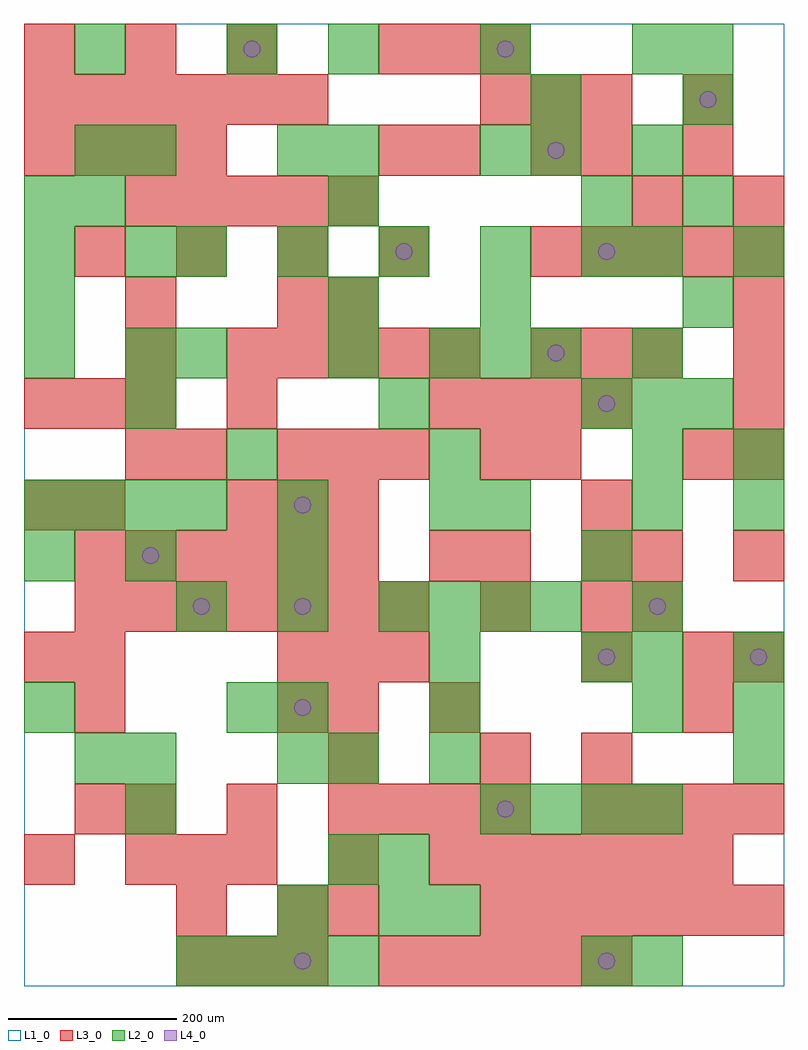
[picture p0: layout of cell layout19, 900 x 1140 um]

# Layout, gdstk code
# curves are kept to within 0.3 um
import gdstk
lib = gdstk.Library(unit=1e-6, precision=1e-09)
def R(c, l, rs):  # rectangles x0, y0, x1, y1
    for r in rs: c.add(gdstk.rectangle(r[:2], r[2:], *l))
def A(c, l, x, y, w, h, nx, ny, dx, dy):  # array of equal rectangles
    R(c, l, [(x+i*dx, y+j*dy, x+i*dx+w, y+j*dy+h) for i in range(nx) for j in range(ny)])
def P(c, l, *ps):  # polygons
    for p in ps: c.add(gdstk.Polygon(p, *l))
L1_0 = (1, 0)
L2_0 = (2, 0)
L3_0 = (3, 0)
L4_0 = (4, 0)

layout19 = lib.new_cell('layout19')
R(layout19, L1_0, [(0,0,900,1140)])
A(layout19, L2_0, 180, 0, 60, 60, 4, 1, 60, 0)
A(layout19, L2_0, 540, 180, 60, 60, 4, 1, 60, 0)
A(layout19, L2_0, 480, 240, 60, 60, 1, 3, 0, 60)
A(layout19, L2_0, 840, 240, 60, 60, 1, 3, 0, 60)
A(layout19, L2_0, 720, 300, 60, 60, 1, 3, 0, 60)
A(layout19, L2_0, 180, 420, 60, 60, 3, 1, 120, 0)
A(layout19, L2_0, 480, 420, 60, 60, 3, 2, 60, 300)
A(layout19, L2_0, 0, 540, 60, 60, 4, 1, 60, 0)
A(layout19, L2_0, 240, 600, 60, 60, 3, 1, 240, 0)
A(layout19, L2_0, 660, 660, 60, 60, 3, 1, 60, 0)
A(layout19, L2_0, 0, 720, 60, 60, 1, 4, 0, 60)
A(layout19, L2_0, 120, 720, 60, 60, 1, 3, 0, 120)
A(layout19, L2_0, 720, 720, 60, 60, 1, 3, 0, 120)
A(layout19, L2_0, 780, 780, 60, 60, 1, 3, 0, 120)
A(layout19, L2_0, 180, 840, 60, 60, 5, 1, 120, 0)
A(layout19, L2_0, 60, 900, 60, 60, 3, 1, 300, 0)
A(layout19, L2_0, 360, 1080, 60, 60, 3, 1, 180, 0)
R(layout19, L2_0, [(660,0,720,60), (720,0,780,60), (300,60,360,120), (420,60,480,120), (480,60,540,120), (360,120,420,180), (420,120,480,180), (120,180,180,240), (60,240,120,300), (120,240,180,300), (300,240,360,300), (360,240,420,300), (0,300,60,360), (240,300,300,360), (300,300,360,360), (660,360,720,420), (0,480,60,540), (120,480,180,540), (300,480,360,540), (660,480,720,540), (300,540,360,600), (480,540,540,600), (540,540,600,600), (720,540,780,600), (840,540,900,600), (840,600,900,660), (120,660,180,720), (420,660,480,720), (180,720,240,780), (360,720,420,780), (360,780,420,840), (540,780,600,840), (840,840,900,900), (60,960,120,1020), (300,960,360,1020), (360,960,420,1020), (540,960,600,1020), (600,960,660,1020), (600,1020,660,1080), (60,1080,120,1140), (240,1080,300,1140), (780,1080,840,1140)])
A(layout19, L3_0, 180, 0, 60, 60, 3, 1, 60, 0)
A(layout19, L3_0, 420, 0, 60, 60, 5, 1, 60, 0)
A(layout19, L3_0, 540, 60, 60, 60, 6, 1, 60, 0)
A(layout19, L3_0, 120, 120, 60, 60, 3, 1, 60, 0)
A(layout19, L3_0, 480, 120, 60, 60, 6, 1, 60, 0)
A(layout19, L3_0, 120, 180, 60, 60, 3, 1, 120, 0)
A(layout19, L3_0, 420, 180, 60, 60, 3, 2, 60, 900)
A(layout19, L3_0, 660, 180, 60, 60, 4, 1, 60, 0)
A(layout19, L3_0, 300, 360, 60, 60, 3, 2, 60, 240)
A(layout19, L3_0, 660, 360, 60, 60, 1, 4, 0, 60)
A(layout19, L3_0, 840, 360, 60, 60, 1, 3, 0, 120)
A(layout19, L3_0, 60, 420, 60, 60, 7, 1, 60, 0)
A(layout19, L3_0, 60, 480, 60, 60, 6, 1, 60, 0)
A(layout19, L3_0, 240, 540, 60, 60, 3, 1, 60, 0)
A(layout19, L3_0, 0, 660, 60, 60, 3, 1, 60, 0)
A(layout19, L3_0, 480, 660, 60, 60, 4, 1, 60, 0)
A(layout19, L3_0, 840, 660, 60, 60, 1, 3, 0, 60)
A(layout19, L3_0, 240, 720, 60, 60, 5, 1, 60, 0)
A(layout19, L3_0, 600, 720, 60, 60, 3, 1, 60, 0)
A(layout19, L3_0, 60, 840, 60, 60, 4, 1, 120, 0)
A(layout19, L3_0, 600, 840, 60, 60, 5, 1, 60, 0)
A(layout19, L3_0, 120, 900, 60, 60, 5, 1, 60, 0)
A(layout19, L3_0, 0, 960, 60, 60, 4, 1, 60, 0)
A(layout19, L3_0, 0, 1020, 60, 60, 6, 1, 60, 0)
A(layout19, L3_0, 540, 1020, 60, 60, 3, 1, 60, 0)
A(layout19, L3_0, 0, 1080, 60, 60, 3, 1, 120, 0)
R(layout19, L3_0, [(180,60,240,120), (300,60,360,120), (360,60,420,120), (0,120,60,180), (360,120,420,180), (60,180,120,240), (360,240,420,300), (540,240,600,300), (660,240,720,300), (60,300,120,360), (300,300,360,360), (360,300,420,360), (480,300,540,360), (780,300,840,360), (0,360,60,420), (60,360,120,420), (780,360,840,420), (540,420,600,480), (720,420,780,480), (480,480,540,540), (540,480,600,540), (720,480,780,540), (0,540,60,600), (60,540,120,600), (120,600,180,660), (180,600,240,660), (540,600,600,660), (600,600,660,660), (780,600,840,660), (240,660,300,720), (120,720,180,780), (120,780,180,840), (300,780,360,840), (360,780,420,840), (720,900,780,960), (840,900,900,960), (420,960,480,1020), (480,960,540,1020), (600,960,660,1020), (660,960,720,1020), (780,960,840,1020), (780,1020,840,1080)])
P(layout19, L4_0, [(160,510),(159.239,513.827),(157.071,517.071),(153.827,519.239),(150,520),(146.173,519.239),(142.929,517.071),(140.761,513.827),(140,510),(140.761,506.173),(142.929,502.929),(146.173,500.761),(150,500),(153.827,500.761),(157.071,502.929),(159.239,506.173)],
  [(220,450),(219.239,453.827),(217.071,457.071),(213.827,459.239),(210,460),(206.173,459.239),(202.929,457.071),(200.761,453.827),(200,450),(200.761,446.173),(202.929,442.929),(206.173,440.761),(210,440),(213.827,440.761),(217.071,442.929),(219.239,446.173)],
  [(280,1110),(279.239,1113.827),(277.071,1117.071),(273.827,1119.239),(270,1120),(266.173,1119.239),(262.929,1117.071),(260.761,1113.827),(260,1110),(260.761,1106.173),(262.929,1102.929),(266.173,1100.761),(270,1100),(273.827,1100.761),(277.071,1102.929),(279.239,1106.173)],
  [(340,30),(339.239,33.827),(337.071,37.071),(333.827,39.239),(330,40),(326.173,39.239),(322.929,37.071),(320.761,33.827),(320,30),(320.761,26.173),(322.929,22.929),(326.173,20.761),(330,20),(333.827,20.761),(337.071,22.929),(339.239,26.173)],
  [(340,330),(339.239,333.827),(337.071,337.071),(333.827,339.239),(330,340),(326.173,339.239),(322.929,337.071),(320.761,333.827),(320,330),(320.761,326.173),(322.929,322.929),(326.173,320.761),(330,320),(333.827,320.761),(337.071,322.929),(339.239,326.173)],
  [(340,450),(339.239,453.827),(337.071,457.071),(333.827,459.239),(330,460),(326.173,459.239),(322.929,457.071),(320.761,453.827),(320,450),(320.761,446.173),(322.929,442.929),(326.173,440.761),(330,440),(333.827,440.761),(337.071,442.929),(339.239,446.173)],
  [(340,570),(339.239,573.827),(337.071,577.071),(333.827,579.239),(330,580),(326.173,579.239),(322.929,577.071),(320.761,573.827),(320,570),(320.761,566.173),(322.929,562.929),(326.173,560.761),(330,560),(333.827,560.761),(337.071,562.929),(339.239,566.173)],
  [(460,870),(459.239,873.827),(457.071,877.071),(453.827,879.239),(450,880),(446.173,879.239),(442.929,877.071),(440.761,873.827),(440,870),(440.761,866.173),(442.929,862.929),(446.173,860.761),(450,860),(453.827,860.761),(457.071,862.929),(459.239,866.173)],
  [(580,210),(579.239,213.827),(577.071,217.071),(573.827,219.239),(570,220),(566.173,219.239),(562.929,217.071),(560.761,213.827),(560,210),(560.761,206.173),(562.929,202.929),(566.173,200.761),(570,200),(573.827,200.761),(577.071,202.929),(579.239,206.173)],
  [(580,1110),(579.239,1113.827),(577.071,1117.071),(573.827,1119.239),(570,1120),(566.173,1119.239),(562.929,1117.071),(560.761,1113.827),(560,1110),(560.761,1106.173),(562.929,1102.929),(566.173,1100.761),(570,1100),(573.827,1100.761),(577.071,1102.929),(579.239,1106.173)],
  [(640,750),(639.239,753.827),(637.071,757.071),(633.827,759.239),(630,760),(626.173,759.239),(622.929,757.071),(620.761,753.827),(620,750),(620.761,746.173),(622.929,742.929),(626.173,740.761),(630,740),(633.827,740.761),(637.071,742.929),(639.239,746.173)],
  [(640,990),(639.239,993.827),(637.071,997.071),(633.827,999.239),(630,1000),(626.173,999.239),(622.929,997.071),(620.761,993.827),(620,990),(620.761,986.173),(622.929,982.929),(626.173,980.761),(630,980),(633.827,980.761),(637.071,982.929),(639.239,986.173)],
  [(700,30),(699.239,33.827),(697.071,37.071),(693.827,39.239),(690,40),(686.173,39.239),(682.929,37.071),(680.761,33.827),(680,30),(680.761,26.173),(682.929,22.929),(686.173,20.761),(690,20),(693.827,20.761),(697.071,22.929),(699.239,26.173)],
  [(700,390),(699.239,393.827),(697.071,397.071),(693.827,399.239),(690,400),(686.173,399.239),(682.929,397.071),(680.761,393.827),(680,390),(680.761,386.173),(682.929,382.929),(686.173,380.761),(690,380),(693.827,380.761),(697.071,382.929),(699.239,386.173)],
  [(700,690),(699.239,693.827),(697.071,697.071),(693.827,699.239),(690,700),(686.173,699.239),(682.929,697.071),(680.761,693.827),(680,690),(680.761,686.173),(682.929,682.929),(686.173,680.761),(690,680),(693.827,680.761),(697.071,682.929),(699.239,686.173)],
  [(700,870),(699.239,873.827),(697.071,877.071),(693.827,879.239),(690,880),(686.173,879.239),(682.929,877.071),(680.761,873.827),(680,870),(680.761,866.173),(682.929,862.929),(686.173,860.761),(690,860),(693.827,860.761),(697.071,862.929),(699.239,866.173)],
  [(760,450),(759.239,453.827),(757.071,457.071),(753.827,459.239),(750,460),(746.173,459.239),(742.929,457.071),(740.761,453.827),(740,450),(740.761,446.173),(742.929,442.929),(746.173,440.761),(750,440),(753.827,440.761),(757.071,442.929),(759.239,446.173)],
  [(820,1050),(819.239,1053.827),(817.071,1057.071),(813.827,1059.239),(810,1060),(806.173,1059.239),(802.929,1057.071),(800.761,1053.827),(800,1050),(800.761,1046.173),(802.929,1042.929),(806.173,1040.761),(810,1040),(813.827,1040.761),(817.071,1042.929),(819.239,1046.173)],
  [(880,390),(879.239,393.827),(877.071,397.071),(873.827,399.239),(870,400),(866.173,399.239),(862.929,397.071),(860.761,393.827),(860,390),(860.761,386.173),(862.929,382.929),(866.173,380.761),(870,380),(873.827,380.761),(877.071,382.929),(879.239,386.173)])

lib.write_gds('layout19.gds')
